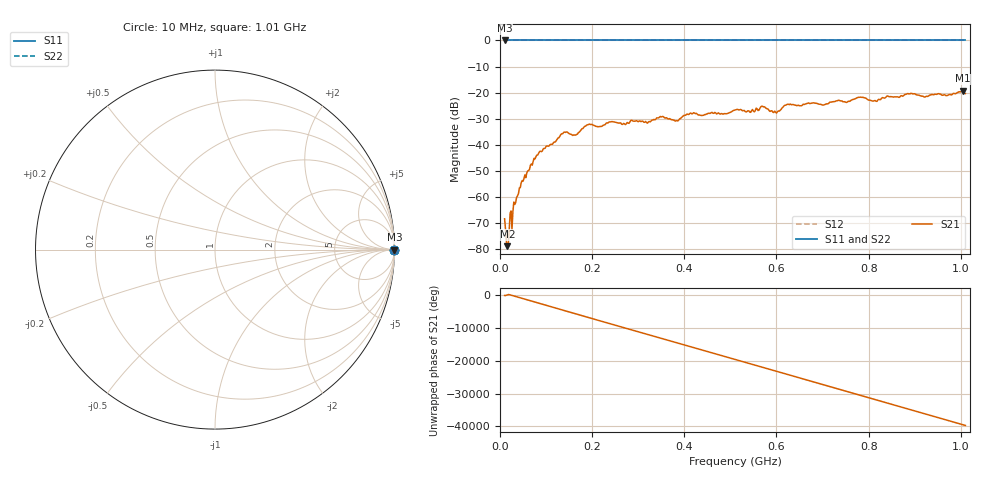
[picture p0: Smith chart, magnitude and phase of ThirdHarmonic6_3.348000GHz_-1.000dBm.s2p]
! 8/17/2025 10:33:43 AM
! C:\ANRITSUVNA\TEMP\TEMP.S2P
! CHANNEL.1
! TR.MEASUREMENT
! RAW.DATA
! RF.CORRECTION.OFF
! AVERAGING.OFF
! IF.BANDWIDTH: 5KHZ
! SWEEPTYPE:  FREQ.SWEEP(Linear)
! Reference Plane Port Info
! PORT:  PORT1  PORT2
! DISTANCE:  0  m  0  m
! TIME:  0  s  0  s
! PHASE.OFFSET:  0  deg.  0  deg.
! LOSS:  0  dB  0  dB
! REF.LOSS:  0  dB  0  dB
! REF.FREQ:  0  Hz  0  Hz
! Power Info
! POWER:  -20  dBm  -20  dBm
! EFF.POWER:  -20  dBm  -20  dBm
! SOURCE.ATTEN:  0  dB  0  dB
! TEST.ATTEN:  0  dB  0  dB
# GHZ S RI R 50.0
! FREQ.GHZ  S11RE  S11IM  S21RE  S21IM  S12RE  S12IM  S22RE  S22IM
!; PortSelection: Port_12
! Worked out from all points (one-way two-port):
!   501 points, 10 MHz to 1.01 GHz, reference 50 ohm
!   highest |S21| = -19.30 dB at 1.004 GHz (marker M1); lowest = -78.9 dB at 16 MHz (marker M2)
!   lowest |S11| = 0.0 dB at 10 MHz (marker M3)
!   |S11| at or under -10 dB: nowhere
!   |S22| runs from 0.0 to 0.0 dB; largest |S21 - S12| = 1.1
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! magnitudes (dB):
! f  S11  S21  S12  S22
! 10 MHz  0.0  -68.3  0.0  0.0
! 16 MHz  0.0  -78.9  0.0  0.0
! 26 MHz  0.0  -72.4  0.0  0.0
! 44 MHz  0.0  -56.4  0.0  0.0
! 76 MHz  0.0  -45.4  0.0  0.0
! 136 MHz  0.0  -35.7  0.0  0.0
! 162 MHz  0.0  -36.3  0.0  0.0
! 178 MHz  0.0  -33.8  0.0  0.0
! 194 MHz  0.0  -32.0  0.0  0.0
! 322 MHz  0.0  -31.2  0.0  0.0
! 344 MHz  0.0  -29.7  0.0  0.0
! 384 MHz  0.0  -30.7  0.0  0.0
! 416 MHz  0.0  -28.1  0.0  0.0
! 510 MHz  0.0  -26.6  0.0  0.0
! 570 MHz  0.0  -25.3  0.0  0.0
! 598 MHz  0.0  -27.4  0.0  0.0
! 622 MHz  0.0  -24.6  0.0  0.0
! 678 MHz  0.0  -24.0  0.0  0.0
! 814 MHz  0.0  -23.0  0.0  0.0
! 844 MHz  0.0  -21.5  0.0  0.0
! 1.004 GHz  0.0  -19.3  0.0  0.0
! 1.01 GHz  0.0  -20.3  0.0  0.0
